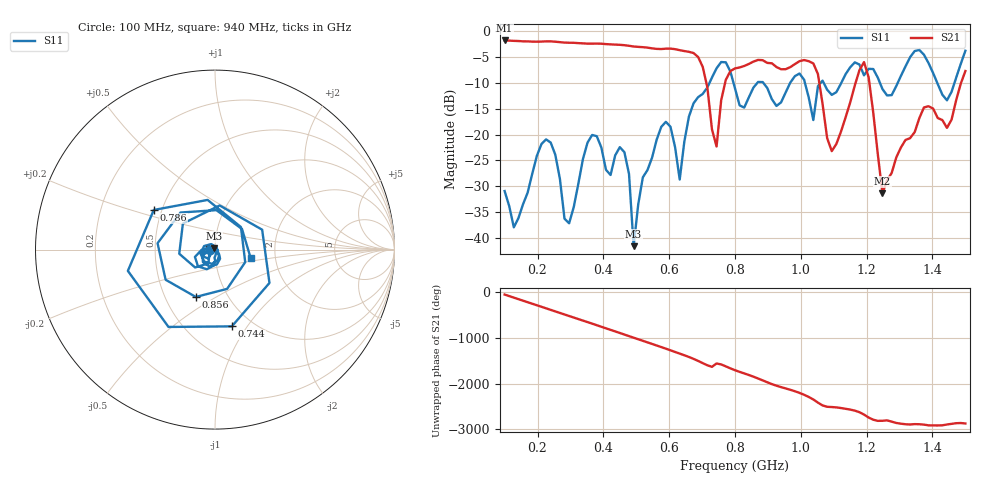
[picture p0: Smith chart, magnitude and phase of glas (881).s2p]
! NanoVNA-App
! Date: 2025-09-25 16:02:20
! Start: 100MHz Stop: 1,5GHz Points: 101
! S-Parameter data: F S11 S21 S12 S22
# Hz S RI R 50
!  Frequency  S11_Real  S11_Imag  S21_Real  S21_Imag  S12_Real  S12_Imag  S22_Real  S22_Imag
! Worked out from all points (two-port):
!   101 points, 100 MHz to 1.5 GHz, reference 50 ohm
!   highest |S21| = -1.80 dB at 100 MHz (marker M1); lowest = -31.4 dB at 1.248 GHz (marker M2)
!   |S21| within 3 dB of the highest: start of sweep to 684.3 MHz
!   lowest |S11| = -41.6 dB at 492 MHz (marker M3), VSWR 1.02, Z = 49.5 + j0.636 ohm
!   |S11| at or under -10 dB: start of sweep to 722.5 MHz; 795.4 MHz to 867.8 MHz (72.42 MHz wide, 8.71 % of centre); 885.9 MHz to 967.6 MHz (81.7 MHz wide, 8.82 % of centre) (the widest 3 of 7)
!   S12 and S22 are empty: the file has one direction only
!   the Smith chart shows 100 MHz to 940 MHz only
!   S11 on the Smith chart (normalised r, x): 100 MHz: 0.94, -0.01; 744 MHz: 0.80, -0.85; 786 MHz: 0.45, +0.24; 856 MHz: 0.71, -0.41; 940 MHz: 1.49, -0.15
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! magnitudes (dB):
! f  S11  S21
! 100 MHz  -30.9  -1.8
! 128 MHz  -37.9  -1.9
! 226 MHz  -20.9  -2.0
! 296 MHz  -37.2  -2.2
! 338 MHz  -24.7  -2.4
! 464 MHz  -23.4  -2.7
! 492 MHz  -41.6  -3.0
! 576 MHz  -18.5  -3.5
! 632 MHz  -28.7  -3.7
! 702 MHz  -12.1  -6.9
! 744 MHz  -7.2  -22.3
! 786 MHz  -7.8  -7.7
! 800 MHz  -11.1  -7.2
! 856 MHz  -10.9  -5.9
! 940 MHz  -13.8  -7.4
! 996 MHz  -8.2  -5.8
! 1.038 GHz  -17.2  -6.2
! 1.094 GHz  -12.3  -23.2
! 1.192 GHz  -8.5  -6.0
! 1.248 GHz  -11.2  -31.4
! 1.276 GHz  -12.4  -27.4
! 1.5 GHz  -3.8  -7.7
